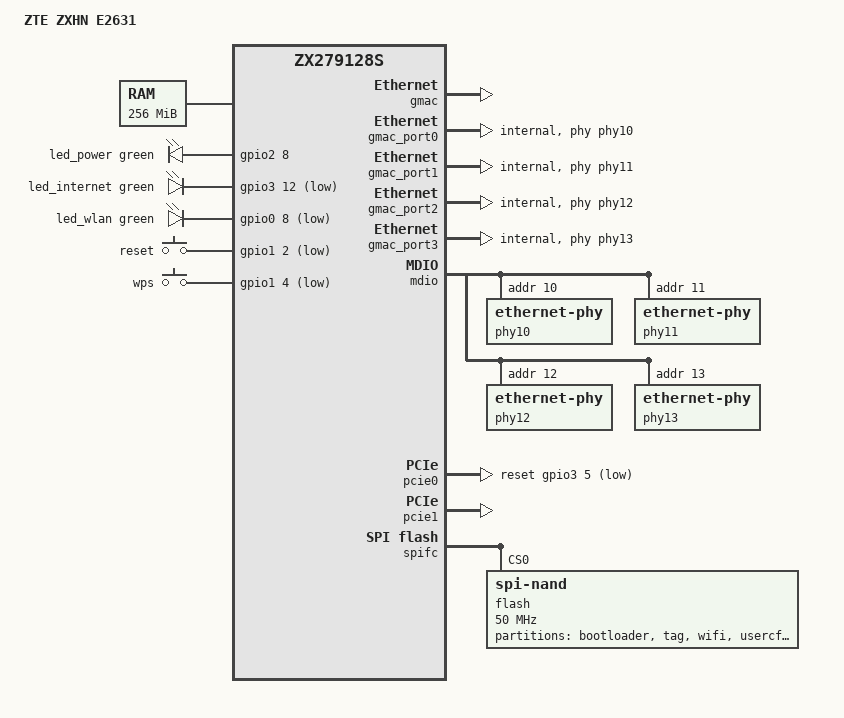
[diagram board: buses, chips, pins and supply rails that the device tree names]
// SPDX-License-Identifier: GPL-2.0-only OR BSD-2-Clause
/*
 * ZTE ZXHN E2631 (a.k.a. 巡天 AX3000): dual-band Wi-Fi 6 router on the
 * Sanechips ZX279128(S/R) SoC, 256 MiB DDR, 128 MiB SPI NAND, one WAN and
 * three LAN ports, all served by the four integrated GbE PHYs.
 *
 * Hardware facts below were read off a live board (2026-10-13) and are marked
 * with where they came from. Values still needing confirmation on first boot
 * are called out in comments - do not treat them as measured.
 */

/dts-v1/;

#include "zte/zx279128s.dtsi"
#include <dt-bindings/gpio/gpio.h>
#include <dt-bindings/input/input.h>
#include <dt-bindings/leds/common.h>

/ {
	model = "ZTE ZXHN E2631";
	compatible = "zte,zxhn-e2631", "zte,zx279128s";

	aliases {
		ethernet0 = &gmac;
		serial0 = &serial0;
		serial1 = &serial1;
		led-boot = &led_power;
		led-failsafe = &led_power;
		led-running = &led_power;
		led-upgrade = &led_power;
	};

	chosen {
		stdout-path = "serial0:115200n8";
	};

	memory@40000000 {
		device_type = "memory";
		/* /proc/capability/boardtype: totalram 256M; vendor cmdline mem=256M */
		reg = <0x40000000 0x10000000>;
	};


	leds {
		compatible = "gpio-leds";

		/* Vendor ledkey table (/proc/zte/ledkey_m/led) lists three LEDs on flat
		 * GPIO 8/40/60; flat = controller*16 + line, the convention
		 * gpio-zx279128s uses (six banks of 16 lines). Two samples of
		 * CurrentOnOff taken an hour apart on the vendor system disagree about
		 * which lamp is lit: 3 minutes after a reboot it was gpio 40, in a fully
		 * settled system it was gpio 60, and gpio 8 was never lit. The
		 * bootloader drives 8 and 40 high and 60 low.
		 *
		 * So 40 is the lamp that is lit earliest, which is what a power LED
		 * does, and its lit level is high in the U-Boot phase. That is a reasoned
		 * call, not a measurement: these bank registers cannot be read to check
		 * it, because reading them from the vendor system hangs the SoC and the
		 * watchdog reboots the box (observed 2026-10-13). On first boot read the
		 * panel: if the lamp we drive stays dark, swap this line to
		 * GPIO_ACTIVE_LOW and try 60 (&gpio3 12) in its place.
		 * Which of 8 and 60 is the internet / wlan lamp is still unknown.
		 */
		led_power: led-power {
			color = <LED_COLOR_ID_GREEN>;
			function = LED_FUNCTION_POWER;
			gpios = <&gpio2 8 GPIO_ACTIVE_HIGH>;
			default-state = "on";
		};

		led_internet: led-internet {
			color = <LED_COLOR_ID_GREEN>;
			function = LED_FUNCTION_WAN;
			gpios = <&gpio3 12 GPIO_ACTIVE_LOW>;
		};

		led_wlan: led-wlan {
			color = <LED_COLOR_ID_GREEN>;
			function = LED_FUNCTION_WLAN;
			gpios = <&gpio0 8 GPIO_ACTIVE_LOW>;
		};
	};

	keys {
		/* Polled on purpose: the ZTE GPIO IRQ chip is unvalidated on this
		 * family and a gpio-keys irq-mode probe locked the H3600 up.
		 * Vendor key table (/proc/zte/ledkey_m/key): flat GPIO 18 and 20.
		 */
		compatible = "gpio-keys-polled";
		poll-interval = <50>;

		key-reset {
			label = "reset";
			gpios = <&gpio1 2 GPIO_ACTIVE_LOW>;
			linux,code = <KEY_RESTART>;
		};

		key-wps {
			label = "wps";
			gpios = <&gpio1 4 GPIO_ACTIVE_LOW>;
			linux,code = <KEY_WPS_BUTTON>;
		};
	};
};

/*
 * Port mapping read from the running vendor system,
 * /proc/capability/ethernetmac (PhyMnf "ZTE" on all four => no external PHY,
 * unlike the H3600 which hangs its WAN off a ZX5201 at MDIO address 8):
 *
 *   eth0 -> switch port 3   not in br0, PROMISC uplink  = WAN
 *   eth1 -> switch port 2   in br0                      = LAN
 *   eth2 -> switch port 1   in br0                      = LAN
 *   eth3 -> switch port 0   in br0                      = LAN
 *
 * The MDIO addresses of the four integrated PHYs are taken from the H3600
 * board file (0xa..0xd) and are UNVERIFIED on this board. Confirm on first
 * boot from our own kernel - "ls /sys/bus/mdio_bus/devices" must show
 * 0-000a..0-000d, and each must report the sanechips GbPHY id - before this
 * ships. Never probe MDIO by poking the controller under the vendor system:
 * writing CMD/STATUS there reset the board within seconds.
 */
&gmac {
	status = "okay";
};

&gmac_port0 {
	label = "lan3";
	phy-handle = <&phy10>;
	phy-mode = "internal";
	status = "okay";
};

&gmac_port1 {
	label = "lan2";
	phy-handle = <&phy11>;
	phy-mode = "internal";
	status = "okay";
};

&gmac_port2 {
	label = "lan1";
	phy-handle = <&phy12>;
	phy-mode = "internal";
	status = "okay";
};

&gmac_port3 {
	label = "wan";
	phy-handle = <&phy13>;
	phy-mode = "internal";
	status = "okay";
};

/* Only four ports are wired on this board; the SoC offers a fifth. */
&gmac_port4 {
	status = "disabled";
};

&mdio {
	status = "okay";

	phy10: ethernet-phy@a {
		reg = <10>;
	};

	phy11: ethernet-phy@b {
		reg = <11>;
	};

	phy12: ethernet-phy@c {
		reg = <12>;
	};

	phy13: ethernet-phy@d {
		reg = <13>;
	};
};

/*
 * MT7916 dual-band Wi-Fi 6 (vendor lsmod: mt7916, out of tree; the calibration
 * file in the "wifi" partition starts with 16 79 = chip id 0x7916 and is the
 * only file there, 0x30000 bytes, mounted by the vendor at /wlan).
 *
 * One package behind both PCIe controllers, as on the H3600, whose vendor
 * driver is the same MediaTek code family. The reset GPIO number is inherited
 * from the H3600 board file and is NOT measured on this board: if nothing
 * enumerates on pci0/01, check this line first (the H3600 also drives an
 * enable-gpios on &gpio3 7, left out here on purpose until PCIe is seen).
 */
&pcie0 {
	reset-gpios = <&gpio3 5 GPIO_ACTIVE_LOW>;
	status = "okay";
};

&pcie1 {
	status = "okay";
};

/* No USB on this board: the vendor kernel ships "# CONFIG USB is not set" and
 * on some E2631 units the controller is not populated at all - probing it
 * hangs the SoC and the watchdog reboots. Leave both nodes disabled.
 */
&usb {
	status = "disabled";
};

&spifc {
	status = "okay";

	flash@0 {
		compatible = "spi-nand";
		reg = <0>;
		spi-max-frequency = <50000000>;
		spi-rx-bus-width = <2>;
		spi-tx-bus-width = <1>;

		/* HYF1GQ4UTACAE: 128 MiB, 2 KiB pages, 128 KiB erase blocks */
		partitions {
			compatible = "fixed-partitions";
			#address-cells = <1>;
			#size-cells = <1>;

			partition@0 {
				label = "bootloader";
				reg = <0x0000000 0x0100000>;
				read-only;
			};

			partition@100000 {
				label = "tag";
				reg = <0x0100000 0x0100000>;
				read-only;

				nvmem-layout {
					compatible = "fixed-layout";
					#address-cells = <1>;
					#size-cells = <1>;

					/* LAN MAC; WAN uses the next one (H3600 convention,
					 * verify against the vendor web UI before shipping)
					 */
					macaddr_tag_1e: macaddr@1e {
						compatible = "mac-base";
						reg = <0x1e 0x6>;
						#nvmem-cell-cells = <1>;
					};
				};
			};

			partition@200000 {
				label = "wifi";
				reg = <0x0200000 0x0100000>;
			};

			partition@300000 {
				label = "usercfg";
				reg = <0x0300000 0x0200000>;
				read-only;
			};

			partition@500000 {
				label = "defcfg";
				reg = <0x0500000 0x0200000>;
				read-only;
			};

			/*
			 * The system lives in two whole-image slots, declared by every
			 * official upgrade package (header +0x4c/+0x5c) and confirmed by
			 * /proc/zte/verinfo/versionstates: 0x700000..0x2300000 and
			 * 0x2300000..0x3f00000, 28 MiB each. Slot 0 keeps the vendor
			 * system; OpenWrt is installed into slot 1, so that
			 * "e2631-fwslot switch" can boot the vendor side again without
			 * rewriting a byte of it.
			 *
			 * rootfs, slot1-header and rootfs_data are windows into slot1, the
			 * same way the vendor table overlaps "rootfs" inside "kernel1".
			 * They stay flat on purpose: mainline ofpart only looks for
			 * sub-partitions when the partition node itself carries
			 * "compatible = fixed-partitions", and then their offsets are
			 * relative. One flat table keeps every address an absolute flash
			 * offset, which is also what e2631-fwslot matches against
			 * /sys/class/mtd/mtdN/offset.
			 *
			 * Inside slot 1 our package is laid out as
			 *   +0x000000  32-byte slot marker
			 *   +0x000020  kernel (plaintext legacy uImage, load 0x40008000),
			 *                padded to fill the region up to +0x400000
			 *   +0x400000  squashfs, padded to fill up to +0xc00000
			 *   +0xc00000  the 512-byte version header block
			 *   +0xc20000  overlay (rootfs_data) up to the end of the slot
			 *
			 * +0x400000 is not a free choice. cspboot locates the rootfs as
			 * "slot + ceil(declared kernel size / 128k)" and ignores the header's
			 * own rootfs offset (proved on the serial console: a kernel of
			 * 0x34bdf8 made it read slot+0x360000, rejected the CRC and fell back
			 * to slot 0). The packer therefore declares the padded kernel extent
			 * 0x3fffe0, whose rounded-up value is exactly +0x400000, which is also
			 * why KERNEL_SIZE is capped at 4096k: a kernel that outgrows this
			 * region must fail the build, not move the rootfs under the table.
			 *
			 * Those fixed addresses hold only while no erase block of
			 * [slot start, +0xc00000) is bad; e2631-fwslot checks that and
			 * refuses to write when it is not.
			 */
			partition@700000 {
				label = "slot0";
				/* Deliberately not read-only: switching back to the stock
				 * firmware rewrites the version header inside this slot, and
				 * "read-only" masks MTD_WRITEABLE off the partition, which
				 * would make that impossible. e2631-fwslot refuses to flash
				 * into slot 0 instead.
				 */
				reg = <0x00700000 0x01c00000>;
			};

			partition@2300000 {
				label = "slot1";
				reg = <0x02300000 0x01c00000>;
			};

			partition@2700000 {
				label = "rootfs";
				reg = <0x02700000 0x00800000>;
			};

			partition@2f00000 {
				label = "slot1-header";
				reg = <0x02f00000 0x00020000>;
			};

			partition@2f20000 {
				label = "rootfs_data";
				reg = <0x02f20000 0x00fe0000>;
			};

			/* Vendor plugin area: 0x6e00000..0x7f00000 on this board. Left
			 * alone; it is AES-128-ECB at rest and only readable through the
			 * vendor kernel.
			 */
		};
	};
};
